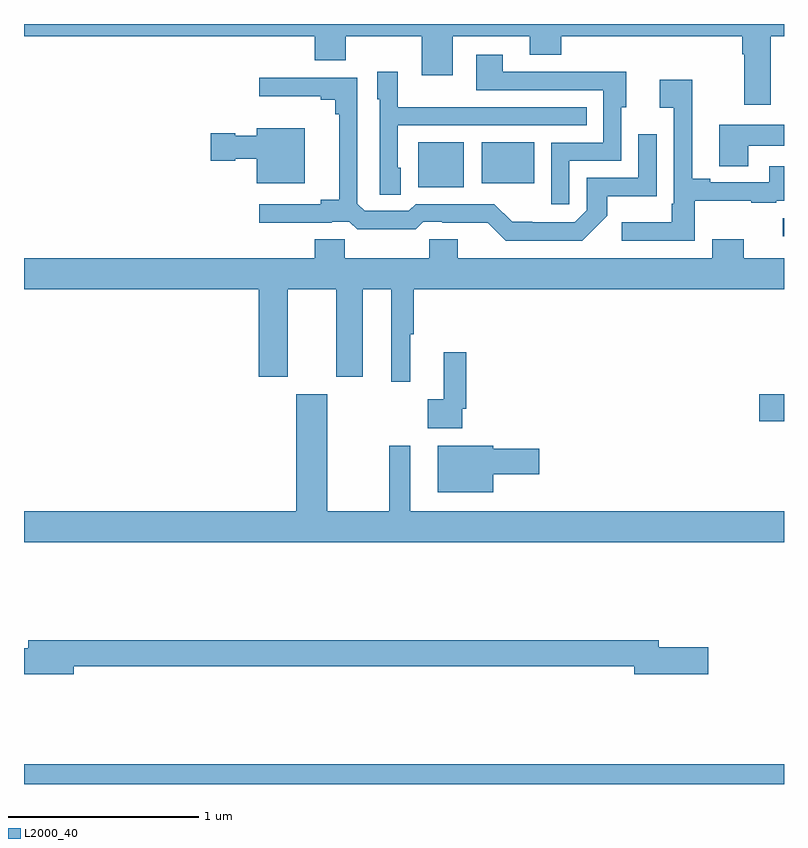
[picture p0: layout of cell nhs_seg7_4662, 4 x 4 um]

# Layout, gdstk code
import gdstk
lib = gdstk.Library(unit=1e-6, precision=1e-09)
def R(c, l, rs):  # rectangles x0, y0, x1, y1
    for r in rs: c.add(gdstk.rectangle(r[:2], r[2:], *l))
def P(c, l, *ps):  # polygons
    for p in ps: c.add(gdstk.Polygon(p, *l))
L2000_40 = (2000, 40)

nhs_seg7_4662 = lib.new_cell('nhs_seg7_4662')
R(nhs_seg7_4662, L2000_40, [(405,1010,409,1010.104), (408.87,1011.91,409,1012.052), (408.993,1012.883,409,1012.977), (407.075,1013.141,407.314,1013.377), (407.408,1013.162,407.686,1013.377)])
P(nhs_seg7_4662, L2000_40, [(408.931,1013.936),(409,1013.936),(409,1014),(405,1014),(405,1013.936),(406.529,1013.936),(406.529,1013.808),(406.693,1013.808),(406.693,1013.936),(407.093,1013.936),(407.093,1013.73),(407.257,1013.73),(407.257,1013.936),(407.663,1013.936),(407.663,1013.837),(407.827,1013.837),(407.827,1013.936),(408.779,1013.936),(408.779,1013.84),(408.791,1013.84),(408.791,1013.574),(408.931,1013.574)],
  [(407.871,1013.28),(408.144,1013.28),(408.144,1013.562),(408.169,1013.562),(408.169,1013.75),(407.951,1013.75),(407.951,1013.748),(407.521,1013.748),(407.521,1013.839),(407.381,1013.839),(407.381,1013.652),(408.048,1013.652),(408.048,1013.376),(407.775,1013.376),(407.775,1013.052),(407.871,1013.052)],
  [(406.984,1013.244),(406.968,1013.244),(406.968,1013.466),(407.963,1013.466),(407.963,1013.562),(407.285,1013.562),(407.285,1013.563),(406.968,1013.563),(406.968,1013.749),(406.859,1013.749),(406.859,1013.604),(406.872,1013.604),(406.872,1013.101),(406.984,1013.101)],
  [(408.069,1012.991),(408.069,1013.093),(408.33,1013.093),(408.33,1013.419),(408.234,1013.419),(408.234,1013.19),(407.961,1013.19),(407.961,1013.019),(407.898,1012.956),(407.674,1012.956),(407.674,1012.958),(407.57,1012.958),(407.475,1013.052),(407.061,1013.052),(407.025,1013.016),(406.794,1013.016),(406.755,1013.055),(406.755,1013.718),(406.239,1013.718),(406.239,1013.621),(406.562,1013.621),(406.562,1013.602),(406.639,1013.602),(406.639,1013.525),(406.658,1013.525),(406.658,1013.075),(406.562,1013.075),(406.562,1013.052),(406.239,1013.052),(406.239,1012.955),(406.619,1012.955),(406.619,1012.959),(406.713,1012.959),(406.753,1012.92),(407.061,1012.92),(407.1,1012.959),(407.2,1012.959),(407.2,1012.955),(407.441,1012.955),(407.535,1012.86),(407.938,1012.86)],
  [(408.529,1013.069),(408.827,1013.069),(408.827,1013.058),(408.959,1013.058),(408.959,1013.07),(409,1013.07),(409,1013.251),(408.923,1013.251),(408.923,1013.166),(408.613,1013.166),(408.613,1013.185),(408.517,1013.185),(408.517,1013.707),(408.345,1013.707),(408.345,1013.558),(408.42,1013.558),(408.42,1013.053),(408.408,1013.053),(408.408,1012.957),(408.147,1012.957),(408.147,1012.86),(408.529,1012.86)],
  [(408.811,1013.36),(409,1013.36),(409,1013.47),(408.659,1013.47),(408.659,1013.251),(408.811,1013.251)],
  [(406.477,1013.452),(406.226,1013.452),(406.226,1013.413),(406.113,1013.413),(406.113,1013.426),(405.984,1013.426),(405.984,1013.279),(406.113,1013.279),(406.113,1013.291),(406.226,1013.291),(406.226,1013.162),(406.477,1013.162)],
  [(407.033,1012.368),(407.051,1012.368),(407.051,1012.604),(409,1012.604),(409,1012.768),(408.787,1012.768),(408.787,1012.867),(408.623,1012.867),(408.623,1012.768),(407.284,1012.768),(407.284,1012.866),(407.134,1012.866),(407.134,1012.768),(406.689,1012.768),(406.689,1012.866),(406.529,1012.866),(406.529,1012.768),(405,1012.768),(405,1012.604),(406.235,1012.604),(406.235,1012.143),(406.387,1012.143),(406.387,1012.604),(406.643,1012.604),(406.643,1012.143),(406.783,1012.143),(406.783,1012.604),(406.934,1012.604),(406.934,1012.116),(407.033,1012.116)],
  [(407.307,1011.976),(407.327,1011.976),(407.327,1012.273),(407.21,1012.273),(407.21,1012.025),(407.124,1012.025),(407.124,1011.872),(407.307,1011.872)],
  [(409,1011.436),(407.032,1011.436),(407.032,1011.781),(406.923,1011.781),(406.923,1011.436),(406.597,1011.436),(406.597,1012.051),(406.433,1012.051),(406.433,1011.436),(405,1011.436),(405,1011.272),(409,1011.272)],
  [(407.47,1011.629),(407.713,1011.629),(407.713,1011.764),(407.47,1011.764),(407.47,1011.781),(407.177,1011.781),(407.177,1011.536),(407.47,1011.536)],
  [(405.262,1010.62),(408.212,1010.62),(408.212,1010.578),(408.601,1010.578),(408.601,1010.72),(408.34,1010.72),(408.34,1010.756),(405.023,1010.756),(405.023,1010.715),(405,1010.715),(405,1010.578),(405.262,1010.578)])

lib.write_gds('nhs_seg7_4662.gds')
